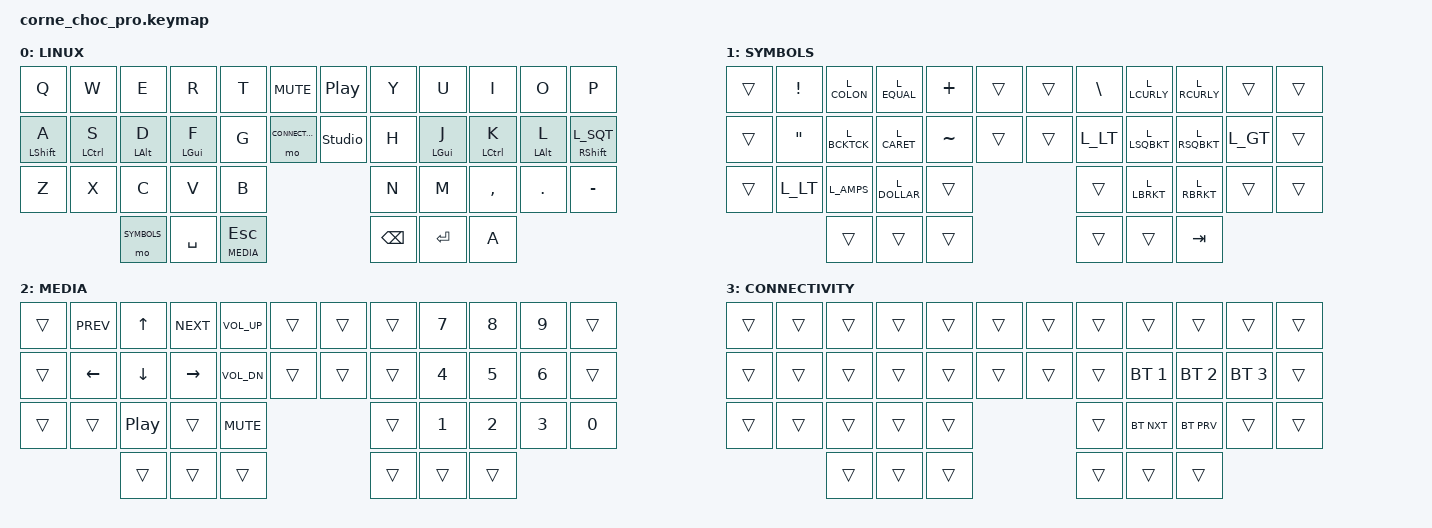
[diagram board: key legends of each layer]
/*
 * Copyright (c) 2020 The ZMK Contributors
 * SPDX-License-Identifier: MIT
 *
 * Personal Configuration: Hatakez
 */

 // KEY CODES: https://zmk.dev/docs/keymaps/list-of-keycodes

 // TODO:
 // - Import the changes that has been done on the ZMK Studio so it's version controlled here
 // - Adjust the timers for the homerow mods so there's less time required in the rollover
 // - Change the question mark on the top right of the left hand symbols into a plus sign

#include <behaviors.dtsi>
#include <dt-bindings/zmk/keys.h>
#include <dt-bindings/zmk/bt.h>

// Local Imports
#include "includes/keymaps.dtsi"

/ {
    chosen { zmk,physical-layout = &five_col_layout; };
};

// Behaviors
/ {
    behaviors {
        hml: home_row_mod_left {
            compatible = "zmk,behavior-hold-tap";
            #binding-cells = <2>;
            flavor = "balanced";
            require-prior-idle-ms = <120>;
            tapping-term-ms = <200>;
            quick-tap-ms = <150>;
            bindings = <&kp>, <&kp>;
            hold-trigger-on-release;
        };

        hmr: home_row_mod_right {
            compatible = "zmk,behavior-hold-tap";
            #binding-cells = <2>;
            flavor = "balanced";
            require-prior-idle-ms = <120>;
            tapping-term-ms = <200>;
            quick-tap-ms = <150>;
            bindings = <&kp>, <&kp>;
            hold-trigger-on-release;
        };
    };
};

// Layers
#define LINUX        0
#define SYMBOLS      1
#define MEDIA        2
#define CONNECTIVITY 3


// Keymaps
/ {
    keymap {
        compatible = "zmk,keymap";

        default {
            display-name = "LINUX";
            bindings = <
  &kp Q          &kp W         &kp E          &kp R        &kp T  &kp C_MUTE        &kp C_PP        &kp Y          &kp U        &kp I         &kp O        &kp P
  &hml LSHIFT A  &hml LCTRL S  &hml LALT D    &hml LGUI F  &kp G  &mo CONNECTIVITY  &studio_unlock  &kp H          &hmr LGUI J  &hmr LCTRL K  &hmr LALT L  &hmr RSHIFT L_SQT
  &kp Z          &kp X         &kp C          &kp V        &kp B                                    &kp N          &kp M        &kp COMMA     &kp DOT      &kp MINUS
                               &mo SYMBOLS    &kp SPACE    &lt MEDIA ESCAPE                         &kp BACKSPACE  &kp RET      &kp A
            >;
        }; // &mo SYMBOLS (replacement for A)

        symbols {
            display-name = "SYMBOLS";
            bindings = <
  &trans  &kp EXCL  &kp L_COLON   &kp L_EQUAL   &kp PLUS   &trans  &trans  &kp BSLH  &kp L_LCURLY  &kp L_RCURLY  &trans    &trans
  &trans  &kp DQT   &kp L_BCKTCK  &kp L_CARET   &kp TILDE  &trans  &trans  &kp L_LT  &kp L_LSQBKT  &kp L_RSQBKT  &kp L_GT  &trans
  &trans  &kp L_LT  &kp L_AMPS    &kp L_DOLLAR  &trans                     &trans    &kp L_LBRKT   &kp L_RBRKT   &trans    &trans
                    &trans        &trans        &trans                     &trans    &trans        &kp TAB
            >;
        };

        media {
            display-name = "MEDIA";
            bindings = <
  &trans  &kp C_PREV  &kp UP    &kp C_NEXT  &kp C_VOL_UP  &trans  &trans  &trans  &kp N7  &kp N8  &kp N9  &trans
  &trans  &kp LEFT    &kp DOWN  &kp RIGHT   &kp C_VOL_DN  &trans  &trans  &trans  &kp N4  &kp N5  &kp N6  &trans
  &trans  &trans      &kp C_PP  &trans      &kp C_MUTE                    &trans  &kp N1  &kp N2  &kp N3  &kp N0
                      &trans    &trans      &trans                        &trans  &trans  &trans
            >;
        };

        connectivity {
            display-name = "CONNECTIVITY";
            bindings = <
  &trans  &trans  &trans  &trans  &trans  &trans  &trans  &trans  &trans        &trans        &trans        &trans
  &trans  &trans  &trans  &trans  &trans  &trans  &trans  &trans  &bt BT_SEL 1  &bt BT_SEL 2  &bt BT_SEL 3  &trans
  &trans  &trans  &trans  &trans  &trans                  &trans  &bt BT_NXT    &bt BT_PRV    &trans        &trans
                  &trans  &trans  &trans                  &trans  &trans        &trans
            >;
        };
    };
};
